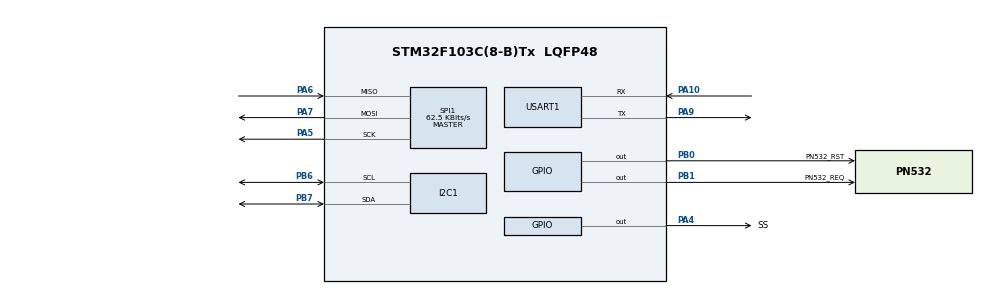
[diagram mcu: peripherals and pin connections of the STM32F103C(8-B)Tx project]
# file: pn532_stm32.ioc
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I2C1.NoStretchMode=I2C_NOSTRETCH_DISABLE
I2C1.OwnAddress=0x48
Mcu.Family=STM32F1
Mcu.Name=STM32F103C(8-B)Tx
Mcu.Package=LQFP48
NVIC.PriorityGroup=NVIC_PRIORITYGROUP_4
PA10.Mode=Asynchronous
PA10.Signal=USART1_RX
PA4.GPIO_Label=SS
PA4.GPIO_PuPd=GPIO_PULLUP
PA4.Signal=GPIO_Output
PA5.Mode=Full_Duplex_Master
PA5.Signal=SPI1_SCK
PA6.Mode=Full_Duplex_Master
PA6.Signal=SPI1_MISO
PA7.Mode=Full_Duplex_Master
PA7.Signal=SPI1_MOSI
PA9.Mode=Asynchronous
PA9.Signal=USART1_TX
PB0.GPIO_Label=PN532_RST
PB0.GPIO_PuPd=GPIO_PULLUP
PB0.PinState=GPIO_PIN_SET
PB0.Signal=GPIO_Output
PB1.GPIO_Label=PN532_REQ
PB1.GPIO_PuPd=GPIO_PULLUP
PB1.PinState=GPIO_PIN_SET
PB1.Signal=GPIO_Output
PB6.Mode=I2C
PB6.Signal=I2C1_SCL
PB7.Mode=I2C
PB7.Signal=I2C1_SDA
ProjectManager.HeapSize=0x200
ProjectManager.StackSize=0x400
ProjectManager.TargetToolchain=MDK-ARM V5
RCC.APB1Freq_Value=8000000
RCC.APB2Freq_Value=8000000
SPI1.BaudRatePrescaler=SPI_BAUDRATEPRESCALER_128
SPI1.CalculateBaudRate=62.5 KBits/s
SPI1.Direction=SPI_DIRECTION_2LINES
SPI1.FirstBit=SPI_FIRSTBIT_LSB
SPI1.Mode=SPI_MODE_MASTER
SPI1.VirtualType=VM_MASTER
USART1.VirtualMode=VM_ASYNC
VP_SYS_VS_ND.Mode=No_Debug
board=custom

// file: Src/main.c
/* USER CODE BEGIN Header */
/**
  ******************************************************************************
  * @file           : main.c
  * @brief          : Main program body
  ******************************************************************************
  * @attention
  *
  * <h2><center>&copy; Copyright (c) 2019 STMicroelectronics.
  * All rights reserved.</center></h2>
  *
  * This software component is licensed by ST under BSD 3-Clause license,
  * the "License"; You may not use this file except in compliance with the
  * License. You may obtain a copy of the License at:
  *                        opensource.org/licenses/BSD-3-Clause
  *
  ******************************************************************************
  */
/* USER CODE END Header */

#include "main.h"

/* USER CODE BEGIN Includes */
#include "pn532_stm32f1.h"
/* USER CODE END Includes */

I2C_HandleTypeDef hi2c1;

SPI_HandleTypeDef hspi1;

UART_HandleTypeDef huart1;

/* USER CODE BEGIN PV */
PN532 pn532;
/* USER CODE END PV */

void SystemClock_Config(void);
static void MX_GPIO_Init(void);
static void MX_SPI1_Init(void);
static void MX_USART1_UART_Init(void);
static void MX_I2C1_Init(void);

int main(void)
{
  /* USER CODE BEGIN 1 */
  uint8_t buff[255];
  bool pin_state = false;
  /* USER CODE END 1 */

  /* MCU Configuration--------------------------------------------------------*/

  /* Reset of all peripherals, Initializes the Flash interface and the Systick. */
  HAL_Init();

  /* Configure the system clock */
  SystemClock_Config();

  /* Initialize all configured peripherals */
  MX_GPIO_Init();
  MX_SPI1_Init();
  MX_USART1_UART_Init();
  MX_I2C1_Init();
  /* USER CODE BEGIN 2 */
  printf("Hello!\r\n");
  PN532 pn532;
  // PN532_SPI_Init(&pn532);
  PN532_I2C_Init(&pn532);
  if (PN532_GetFirmwareVersion(&pn532, buff) == PN532_STATUS_OK) {
    printf("Found PN532 with firmware version: %d.%d\r\n", buff[1], buff[2]);
  } else {
    return -1;
  }
  PN532_ReadGpio(&pn532, buff);
  printf("Port P3: 0x%02x\r\n", buff[0]);
  printf("Port P7: 0x%02x\r\n", buff[1]);
  printf("Port I: 0x%02x\r\n", buff[3]);
  for (uint8_t i = 30; i < 36; i++) {
    pin_state = PN532_ReadGpioP(&pn532, i);
    printf("Pin P%d: %d\r\n", i, pin_state);
  }
  for (uint8_t i = 0; i < 2; i++) {
    pin_state = PN532_ReadGpioI(&pn532, i);
    printf("Pin I%d: %d\r\n", i, pin_state);
  }
  /* USER CODE END 2 */

  /* Infinite loop */
  while (1)
  {

  }
}

void SystemClock_Config(void)
{
  RCC_OscInitTypeDef RCC_OscInitStruct = {0};
  RCC_ClkInitTypeDef RCC_ClkInitStruct = {0};

  /** Initializes the CPU, AHB and APB busses clocks
  */
  RCC_OscInitStruct.OscillatorType = RCC_OSCILLATORTYPE_HSI;
  RCC_OscInitStruct.HSIState = RCC_HSI_ON;
  RCC_OscInitStruct.HSICalibrationValue = RCC_HSICALIBRATION_DEFAULT;
  RCC_OscInitStruct.PLL.PLLState = RCC_PLL_NONE;
  if (HAL_RCC_OscConfig(&RCC_OscInitStruct) != HAL_OK)
  {
    Error_Handler();
  }
  /** Initializes the CPU, AHB and APB busses clocks
  */
  RCC_ClkInitStruct.ClockType = RCC_CLOCKTYPE_HCLK|RCC_CLOCKTYPE_SYSCLK
                              |RCC_CLOCKTYPE_PCLK1|RCC_CLOCKTYPE_PCLK2;
  RCC_ClkInitStruct.SYSCLKSource = RCC_SYSCLKSOURCE_HSI;
  RCC_ClkInitStruct.AHBCLKDivider = RCC_SYSCLK_DIV1;
  RCC_ClkInitStruct.APB1CLKDivider = RCC_HCLK_DIV1;
  RCC_ClkInitStruct.APB2CLKDivider = RCC_HCLK_DIV1;

  if (HAL_RCC_ClockConfig(&RCC_ClkInitStruct, FLASH_LATENCY_0) != HAL_OK)
  {
    Error_Handler();
  }
}

static void MX_I2C1_Init(void)
{

  hi2c1.Instance = I2C1;
  hi2c1.Init.ClockSpeed = 100000;
  hi2c1.Init.DutyCycle = I2C_DUTYCYCLE_2;
  hi2c1.Init.OwnAddress1 = 144;
  hi2c1.Init.AddressingMode = I2C_ADDRESSINGMODE_7BIT;
  hi2c1.Init.DualAddressMode = I2C_DUALADDRESS_DISABLE;
  hi2c1.Init.OwnAddress2 = 0;
  hi2c1.Init.GeneralCallMode = I2C_GENERALCALL_DISABLE;
  hi2c1.Init.NoStretchMode = I2C_NOSTRETCH_DISABLE;
  if (HAL_I2C_Init(&hi2c1) != HAL_OK)
  {
    Error_Handler();
  }

}

static void MX_SPI1_Init(void)
{

  /* SPI1 parameter configuration*/
  hspi1.Instance = SPI1;
  hspi1.Init.Mode = SPI_MODE_MASTER;
  hspi1.Init.Direction = SPI_DIRECTION_2LINES;
  hspi1.Init.DataSize = SPI_DATASIZE_8BIT;
  hspi1.Init.CLKPolarity = SPI_POLARITY_LOW;
  hspi1.Init.CLKPhase = SPI_PHASE_1EDGE;
  hspi1.Init.NSS = SPI_NSS_SOFT;
  hspi1.Init.BaudRatePrescaler = SPI_BAUDRATEPRESCALER_128;
  hspi1.Init.FirstBit = SPI_FIRSTBIT_LSB;
  hspi1.Init.TIMode = SPI_TIMODE_DISABLE;
  hspi1.Init.CRCCalculation = SPI_CRCCALCULATION_DISABLE;
  hspi1.Init.CRCPolynomial = 10;
  if (HAL_SPI_Init(&hspi1) != HAL_OK)
  {
    Error_Handler();
  }

}

static void MX_USART1_UART_Init(void)
{

  huart1.Instance = USART1;
  huart1.Init.BaudRate = 115200;
  huart1.Init.WordLength = UART_WORDLENGTH_8B;
  huart1.Init.StopBits = UART_STOPBITS_1;
  huart1.Init.Parity = UART_PARITY_NONE;
  huart1.Init.Mode = UART_MODE_TX_RX;
  huart1.Init.HwFlowCtl = UART_HWCONTROL_NONE;
  huart1.Init.OverSampling = UART_OVERSAMPLING_16;
  if (HAL_UART_Init(&huart1) != HAL_OK)
  {
    Error_Handler();
  }

}

static void MX_GPIO_Init(void)
{
  GPIO_InitTypeDef GPIO_InitStruct = {0};

  /* GPIO Ports Clock Enable */
  __HAL_RCC_GPIOA_CLK_ENABLE();
  __HAL_RCC_GPIOB_CLK_ENABLE();

  /*Configure GPIO pin Output Level */
  HAL_GPIO_WritePin(SS_GPIO_Port, SS_Pin, GPIO_PIN_RESET);

  /*Configure GPIO pin Output Level */
  HAL_GPIO_WritePin(GPIOB, PN532_RST_Pin|PN532_REQ_Pin, GPIO_PIN_SET);

  /*Configure GPIO pin : SS_Pin */
  GPIO_InitStruct.Pin = SS_Pin;
  GPIO_InitStruct.Mode = GPIO_MODE_OUTPUT_PP;
  GPIO_InitStruct.Pull = GPIO_PULLUP;
  GPIO_InitStruct.Speed = GPIO_SPEED_FREQ_LOW;
  HAL_GPIO_Init(SS_GPIO_Port, &GPIO_InitStruct);

  /*Configure GPIO pins : PN532_RST_Pin PN532_REQ_Pin */
  GPIO_InitStruct.Pin = PN532_RST_Pin|PN532_REQ_Pin;
  GPIO_InitStruct.Mode = GPIO_MODE_OUTPUT_PP;
  GPIO_InitStruct.Pull = GPIO_PULLUP;
  GPIO_InitStruct.Speed = GPIO_SPEED_FREQ_LOW;
  HAL_GPIO_Init(GPIOB, &GPIO_InitStruct);

}

/* USER CODE BEGIN 4 */
#ifdef __GNUC__
  /* With GCC/RAISONANCE, small printf (option LD Linker->Libraries->Small printf
     set to 'Yes') calls __io_putchar() */
  #define PUTCHAR_PROTOTYPE int __io_putchar(int ch)
#else
  #define PUTCHAR_PROTOTYPE int fputc(int ch, FILE *f)
#endif /* __GNUC__ */
/**
  * @brief  Retargets the C library printf function to the USART.
  * @param  None
  * @retval None
  */
PUTCHAR_PROTOTYPE
{
  /* Place your implementation of fputc here */
  /* e.g. write a character to the EVAL_COM1 and Loop until the end of transmission */
  HAL_UART_Transmit(&huart1, (uint8_t *)&ch, 1, 0xFFFF);

  return ch;
}
/* USER CODE END 4 */

void Error_Handler(void)
{
}

/************************ (C) COPYRIGHT STMicroelectronics *****END OF FILE****/
